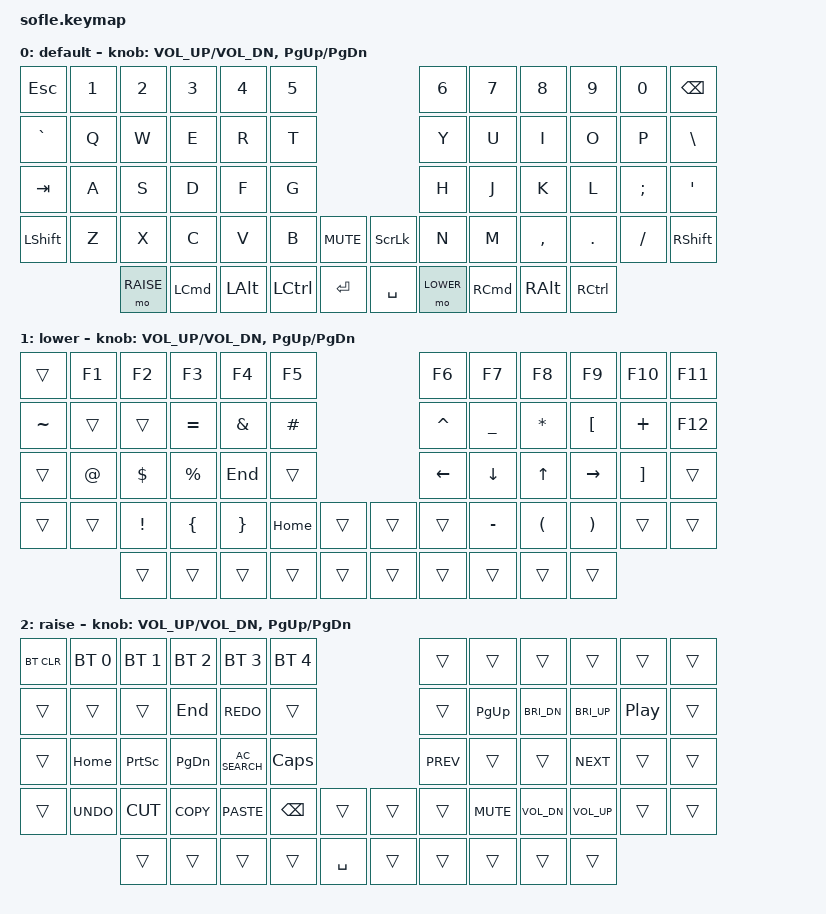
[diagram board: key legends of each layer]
/*
 * Copyright (c) 2020 The ZMK Contributors
 *
 * SPDX-License-Identifier: MIT
 */

#include <behaviors.dtsi>
#include <dt-bindings/zmk/keys.h>
#include <dt-bindings/zmk/bt.h>
#include <dt-bindings/zmk/rgb.h>
#include <dt-bindings/zmk/ext_power.h>

#define BASE 0
#define LOWER 1
#define RAISE 2

/ {

   // Activate ADJUST layer by pressing raise and lower
    conditional_layers {
        compatible = "zmk,conditional-layers";
    };

    keymap {
        compatible = "zmk,keymap";

        default_layer {
            display-name = "default";
// -------------------------------------------------------------------------------------------------------
// |  ESC  |  1  |   2   |  3  |  4  |  5   |                   |   6   |  7  |  8  |  9   |  0  | BKSPC |
// |   `   |  Q  |   W   |  E  |  R  |  T   |                   |   Y   |  U  |  I  |  O   |  P  |   \   |
// |  TAB  |  A  |   S   |  D  |  F  |  G   |                   |   H   |  J  |  K  |  L   |  ;  |   '   |
// | SHIFT |  Z  |   X   |  C  |  V  |  B   |  MUTE  |  | SLCK  |   N   |  M  |  ,  |  .   |  /  | SHIFT |
//               | RAISE | CMD | ALT | CTRL |  ENTER |  | SPACE | LOWER | CMD | ALT | CTRL |
            bindings = <
&kp ESC    &kp N1  &kp N2     &kp N3    &kp N4    &kp N5                            &kp N6     &kp N7    &kp N8     &kp N9     &kp N0    &kp BSPC
&kp GRAVE  &kp Q   &kp W      &kp E     &kp R     &kp T                             &kp Y      &kp U     &kp I      &kp O      &kp P     &kp BSLH
&kp TAB    &kp A   &kp S      &kp D     &kp F     &kp G                             &kp H      &kp J     &kp K      &kp L      &kp SEMI  &kp SQT
&kp LSHFT  &kp Z   &kp X      &kp C     &kp V     &kp B      &kp C_MUTE  &kp SLCK   &kp N      &kp M     &kp COMMA  &kp DOT    &kp FSLH  &kp RSHFT
                   &mo RAISE  &kp LCMD  &kp LALT  &kp LCTRL  &kp RET     &kp SPACE  &mo LOWER  &kp RCMD  &kp RALT   &kp RCTRL
            >;

            sensor-bindings = <&inc_dec_kp C_VOL_UP C_VOL_DN &inc_dec_kp PG_UP PG_DN>;
        };

        lower_layer {
            display-name = "lower";
// TODO: Some binds are waiting for shifted keycode support.
// ---------------------------------------------------------------------------------------------------------
// |       |  F1  |  F2 |  F3 |  F4  |  F5  |                   |  F6  |  F7  |  F8  |  F9   | F10 |  F11  |
// |   ~   |      |     |  =  |  &   |  #   |                   |  ^   |  _   |  *   |  [    |  +  |  F12  |
// |       |  @   |  $  |  %  |  END |      |                   | LEFT | DOWN |  UP  | RIGHT |  ]  |       |
// |       |      |  !  |  {  |  }   | HOME |        |  |       |      |  -   |  (   |  )    |     |       |
//                |     |     |      |      |        |  |       |      |      |      |       |
            bindings = <
&trans     &kp F1  &kp F2    &kp F3     &kp F4    &kp F5                    &kp F6     &kp F7     &kp F8     &kp F9     &kp F10   &kp F11
&kp TILDE  &trans  &trans    &kp EQUAL  &kp AMPS  &kp HASH                  &kp CARET  &kp UNDER  &kp ASTRK  &kp LBKT   &kp PLUS  &kp F12
&trans     &kp AT  &kp DLLR  &kp PRCNT  &kp END   &trans                    &kp LEFT   &kp DOWN   &kp UP     &kp RIGHT  &kp RBKT  &trans
&trans     &trans  &kp EXCL  &kp LBRC   &kp RBRC  &kp HOME   &trans &trans  &trans     &kp MINUS  &kp LPAR   &kp RPAR   &trans    &trans
                   &trans    &trans     &trans    &trans     &trans &trans  &trans     &trans     &trans     &trans
            >;

            sensor-bindings = <&inc_dec_kp C_VOL_UP C_VOL_DN &inc_dec_kp PG_UP PG_DN>;
        };

        raise_layer {
            display-name = "raise";
// -----------------------------------------------------------------------------------------------------------------
// | BTCLR | BT1   | BT2   | BT3  | BT4    | BT5   |                 |      |       |       |       |      |       |
// |       |       |       | END  | REDO   |       |                 |      | PGUP  | BRIDN | BRIUP |  PP  |       |
// |       | HOME  | PSCR  | PGDN | SEARCH | CAPS  |                 | PREV |       |       | NEXT  |      |       |
// |       | UNDO  | CUT   | COPY | PASTE  | BKSPC |       |  |      |      | MUTE  | VOLDN | VOLUP |      |       |
//                 |       |      |        |       | SPACE |  |      |      |       |       |       |
            bindings = <
&bt BT_CLR  &bt BT_SEL 0  &bt BT_SEL 1  &bt BT_SEL 2  &bt BT_SEL 3     &bt BT_SEL 4                     &trans      &trans      &trans        &trans        &trans    &trans
&trans      &trans        &trans        &kp END       &kp K_REDO       &trans                           &trans      &kp PG_UP   &kp C_BRI_DN  &kp C_BRI_UP  &kp C_PP  &trans
&trans      &kp HOME      &kp PSCRN     &kp PG_DN     &kp C_AC_SEARCH  &kp CLCK                         &kp C_PREV  &trans      &trans        &kp C_NEXT    &trans    &trans
&trans      &kp K_UNDO    &kp K_CUT     &kp K_COPY    &kp K_PASTE      &kp BSPC      &trans     &trans  &trans      &kp C_MUTE  &kp C_VOL_DN  &kp C_VOL_UP  &trans    &trans
                          &trans        &trans        &trans           &trans        &kp SPACE  &trans  &trans      &trans      &trans        &trans
            >;

            sensor-bindings = <&inc_dec_kp C_VOL_UP C_VOL_DN &inc_dec_kp PG_UP PG_DN>;
        };

    };
};

// override https://github.com/zmkfirmware/zmk/blob/main/app/boards/shields/sofle/sofle.keymap
